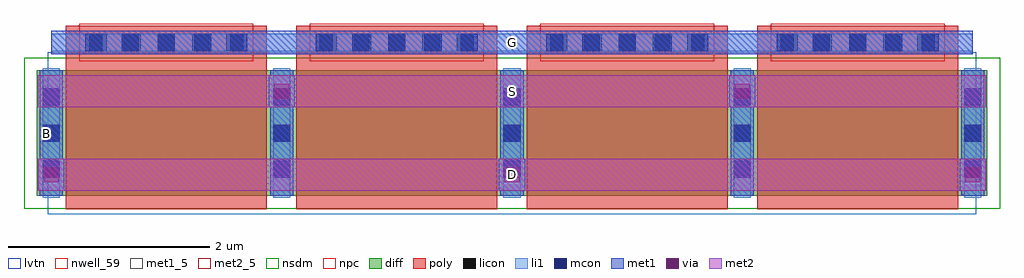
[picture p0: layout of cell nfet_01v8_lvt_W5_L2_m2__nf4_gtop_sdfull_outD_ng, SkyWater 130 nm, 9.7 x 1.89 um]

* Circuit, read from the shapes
.subckt nfet_01v8_lvt_W5_L2_m2__nf4_gtop_sdfull_outD_ng B D G S
XM1 S G D B sky130_fd_pr__nfet_01v8_lvt w=1.25 l=2 m=4
.ends

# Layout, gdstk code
import gdstk
lib = gdstk.Library(unit=1e-6, precision=1e-09)
def R(c, l, rs):  # rectangles x0, y0, x1, y1
    for r in rs: c.add(gdstk.rectangle(r[:2], r[2:], *l))
def A(c, l, x, y, w, h, nx, ny, dx, dy):  # array of equal rectangles
    R(c, l, [(x+i*dx, y+j*dy, x+i*dx+w, y+j*dy+h) for i in range(nx) for j in range(ny)])
nwell_59 = (64, 59)
diff = (65, 20)
poly = (66, 20)
licon = (66, 44)
li1 = (67, 20)
mcon = (67, 44)
met1_5 = (68, 5)
met1 = (68, 20)
via = (68, 44)
met2_5 = (69, 5)
met2 = (69, 20)
nsdm = (93, 44)
npc = (95, 20)
lvtn = (125, 44)

sky130_fd_pr__nfet_01v8_ = lib.new_cell('sky130_fd_pr__nfet_01v8_lvt_EDZT6N')
R(sky130_fd_pr__nfet_01v8_, diff, [(-4.725,-0.78,4.725,0.47)])
A(sky130_fd_pr__nfet_01v8_, poly, -4.435, -0.91, 2, 1.82, 4, 1, 2.29, 0)
A(sky130_fd_pr__nfet_01v8_, licon, -4.665, -0.58, 0.17, 0.17, 5, 3, 2.29, 0.34)
A(sky130_fd_pr__nfet_01v8_, licon, -4.2, 0.66, 0.17, 0.17, 5, 1, 0.34, 0)
A(sky130_fd_pr__nfet_01v8_, licon, -1.91, 0.66, 0.17, 0.17, 5, 1, 0.34, 0)
A(sky130_fd_pr__nfet_01v8_, licon, 0.38, 0.66, 0.17, 0.17, 5, 1, 0.34, 0)
A(sky130_fd_pr__nfet_01v8_, licon, 2.67, 0.66, 0.17, 0.17, 5, 1, 0.34, 0)
A(sky130_fd_pr__nfet_01v8_, li1, -4.665, -0.8, 0.17, 1.29, 5, 1, 2.29, 0)
R(sky130_fd_pr__nfet_01v8_, li1, [(-4.58,0.66,4.58,0.83)])
A(sky130_fd_pr__nfet_01v8_, mcon, -4.665, -0.6, 0.17, 0.17, 5, 3, 2.29, 0.36)
A(sky130_fd_pr__nfet_01v8_, mcon, -4.24, 0.66, 0.17, 0.17, 5, 1, 0.36, 0)
A(sky130_fd_pr__nfet_01v8_, mcon, -1.95, 0.66, 0.17, 0.17, 5, 1, 0.36, 0)
A(sky130_fd_pr__nfet_01v8_, mcon, 0.34, 0.66, 0.17, 0.17, 5, 1, 0.36, 0)
A(sky130_fd_pr__nfet_01v8_, mcon, 2.63, 0.66, 0.17, 0.17, 5, 1, 0.36, 0)
A(sky130_fd_pr__nfet_01v8_, met1, -4.695, -0.78, 0.23, 1.25, 5, 1, 2.29, 0)
A(sky130_fd_pr__nfet_01v8_, met1, -4.415, 0.63, 1.96, 0.03, 4, 2, 2.29, 0.2)
R(sky130_fd_pr__nfet_01v8_, met1, [(-4.58,0.66,4.58,0.83)])
R(sky130_fd_pr__nfet_01v8_, nsdm, [(-4.85,-0.905,4.85,0.595)])
A(sky130_fd_pr__nfet_01v8_, npc, -4.3, 0.56, 1.73, 0.37, 4, 1, 2.29, 0)
R(sky130_fd_pr__nfet_01v8_, lvtn, [(-4.615,-0.96,4.615,0.65)])
sky130_fd_pr__nfet_01v8_.add(gdstk.Label('D0', (-4.58,-0.155), layer=67, texttype=5))
sky130_fd_pr__nfet_01v8_.add(gdstk.Label('G', (3.435,0.745), layer=67, texttype=5))
sky130_fd_pr__nfet_01v8_.add(gdstk.Label('G', (1.145,0.745), layer=67, texttype=5))
sky130_fd_pr__nfet_01v8_.add(gdstk.Label('G', (-1.145,0.745), layer=67, texttype=5))
sky130_fd_pr__nfet_01v8_.add(gdstk.Label('G', (-3.435,0.745), layer=67, texttype=5))
sky130_fd_pr__nfet_01v8_.add(gdstk.Label('S1', (-2.29,-0.155), layer=67, texttype=5))
sky130_fd_pr__nfet_01v8_.add(gdstk.Label('D2', (0,-0.155), layer=67, texttype=5))
sky130_fd_pr__nfet_01v8_.add(gdstk.Label('S3', (2.29,-0.155), layer=67, texttype=5))

nfet_01v8_lvt_w5_l2_m2__ = lib.new_cell('nfet_01v8_lvt_W5_L2_m2__nf4_gtop_sdfull_outD_ng')
R(nfet_01v8_lvt_w5_l2_m2__, nwell_59, [(0.05,0.705,0.15,0.805)])
R(nfet_01v8_lvt_w5_l2_m2__, met1_5, [(0.145,1.54,9.305,1.77)])
A(nfet_01v8_lvt_w5_l2_m2__, met1, 0.015, 0.18, 0.26, 0.32, 3, 1, 4.58, 0)
R(nfet_01v8_lvt_w5_l2_m2__, met1, [(2.305,1.01,2.565,1.33), (6.885,1.01,7.145,1.33), (0.145,1.54,9.305,1.77)])
A(nfet_01v8_lvt_w5_l2_m2__, via, 0.07, 0.265, 0.15, 0.15, 3, 1, 4.58, 0)
R(nfet_01v8_lvt_w5_l2_m2__, via, [(2.36,1.095,2.51,1.245), (6.94,1.095,7.09,1.245)])
R(nfet_01v8_lvt_w5_l2_m2__, met2_5, [(0.01,0.18,9.44,0.5), (0.01,1.01,9.44,1.33)])
R(nfet_01v8_lvt_w5_l2_m2__, met2, [(0.01,0.18,9.44,0.5), (0.01,1.01,9.44,1.33)])
nfet_01v8_lvt_w5_l2_m2__.add(gdstk.Reference(sky130_fd_pr__nfet_01v8_, (4.725,0.91)))
nfet_01v8_lvt_w5_l2_m2__.add(gdstk.Label('S', (4.725,1.17), layer=69, texttype=5))
nfet_01v8_lvt_w5_l2_m2__.add(gdstk.Label('D', (4.725,0.34), layer=69, texttype=5))
nfet_01v8_lvt_w5_l2_m2__.add(gdstk.Label('G', (4.725,1.655), layer=68, texttype=5))
nfet_01v8_lvt_w5_l2_m2__.add(gdstk.Label('B', (0.1,0.755), layer=64, texttype=59))

lib.write_gds('nfet_01v8_lvt_W5_L2_m2__nf4_gtop_sdfull_outD_ng.gds')
